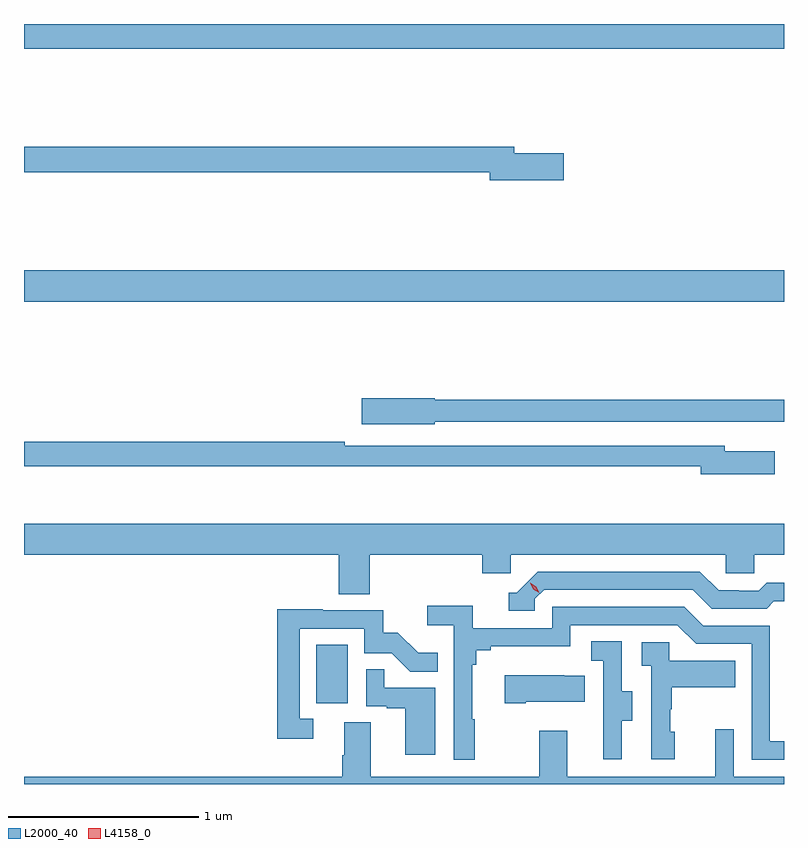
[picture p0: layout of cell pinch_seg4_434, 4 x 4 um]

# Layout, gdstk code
import gdstk
lib = gdstk.Library(unit=1e-6, precision=1e-09)
def R(c, l, rs):  # rectangles x0, y0, x1, y1
    for r in rs: c.add(gdstk.rectangle(r[:2], r[2:], *l))
def P(c, l, *ps):  # polygons
    for p in ps: c.add(gdstk.Polygon(p, *l))
L2000_40 = (2000, 40)
L4158_0 = (4158, 0)

pinch_seg4_434 = lib.new_cell('pinch_seg4_434')
R(pinch_seg4_434, L2000_40, [(949.424,788.046,949.588,788.353), (947.885,790.16,951.885,790.324), (947.885,791.492,951.885,791.621)])
P(pinch_seg4_434, L2000_40, [(950.725,790.94),(950.464,790.94),(950.464,790.976),(947.885,790.976),(947.885,790.84),(950.336,790.84),(950.336,790.798),(950.725,790.798)],
  [(950.046,789.528),(951.67,789.528),(951.67,789.527),(951.885,789.527),(951.885,789.644),(950.046,789.644),(950.046,789.65),(949.662,789.65),(949.662,789.515),(950.046,789.515)],
  [(951.835,789.373),(951.574,789.373),(951.574,789.402),(949.574,789.402),(949.574,789.422),(947.885,789.422),(947.885,789.294),(951.446,789.294),(951.446,789.251),(951.835,789.251)],
  [(949.706,788.828),(950.297,788.828),(950.297,788.73),(950.448,788.73),(950.448,788.828),(951.579,788.828),(951.579,788.73),(951.729,788.73),(951.729,788.828),(951.885,788.828),(951.885,788.992),(947.885,788.992),(947.885,788.828),(949.541,788.828),(949.541,788.62),(949.706,788.62)],
  [(950.574,788.595),(950.622,788.643),(951.405,788.643),(951.504,788.544),(951.793,788.544),(951.832,788.583),(951.885,788.583),(951.885,788.68),(951.793,788.68),(951.751,788.637),(951.648,788.637),(951.648,788.64),(951.541,788.64),(951.442,788.739),(950.589,788.739),(950.478,788.628),(950.435,788.628),(950.435,788.532),(950.574,788.532)],
  [(950.257,787.961),(950.245,787.961),(950.245,788.249),(950.264,788.249),(950.264,788.326),(950.341,788.326),(950.341,788.345),(950.76,788.345),(950.76,788.457),(951.324,788.457),(951.423,788.358),(951.714,788.358),(951.714,787.749),(951.885,787.749),(951.885,787.845),(951.81,787.845),(951.81,788.454),(951.46,788.454),(951.361,788.553),(950.664,788.553),(950.664,788.442),(950.246,788.442),(950.246,788.558),(950.007,788.558),(950.007,788.456),(950.148,788.456),(950.148,787.749),(950.257,787.749)],
  [(949.408,787.965),(949.335,787.965),(949.335,788.439),(949.677,788.439),(949.677,788.31),(949.821,788.31),(949.919,788.212),(950.063,788.212),(950.063,788.311),(949.959,788.311),(949.852,788.418),(949.776,788.418),(949.776,788.535),(949.457,788.535),(949.457,788.54),(949.219,788.54),(949.219,787.86),(949.408,787.86)],
  [(951.031,787.954),(951.085,787.954),(951.085,788.109),(951.03,788.109),(951.03,788.372),(950.871,788.372),(950.871,788.269),(950.934,788.269),(950.934,787.965),(950.933,787.965),(950.933,787.752),(951.031,787.752)],
  [(951.31,787.896),(951.285,787.896),(951.285,788.015),(951.295,788.015),(951.295,788.129),(951.629,788.129),(951.629,788.269),(951.282,788.269),(951.282,788.367),(951.135,788.367),(951.135,788.243),(951.186,788.243),(951.186,787.752),(951.31,787.752)],
  [(950.05,788.127),(949.781,788.127),(949.781,788.225),(949.686,788.225),(949.686,788.031),(949.793,788.031),(949.793,788.019),(949.892,788.019),(949.892,787.776),(950.05,787.776)],
  [(950.527,788.054),(950.837,788.054),(950.837,788.191),(950.729,788.191),(950.729,788.194),(950.415,788.194),(950.415,788.047),(950.527,788.047)],
  [(947.885,787.621),(951.885,787.621),(951.885,787.66),(951.621,787.66),(951.621,787.909),(951.524,787.909),(951.524,787.66),(950.743,787.66),(950.743,787.9),(950.596,787.9),(950.596,787.66),(949.711,787.66),(949.711,787.946),(949.571,787.946),(949.571,787.772),(949.559,787.772),(949.559,787.66),(947.885,787.66)])
P(pinch_seg4_434, L4158_0, [(950.596,788.628),(950.565,788.647),(950.549,788.679),(950.549,788.68),(950.55,788.68),(950.58,788.66),(950.596,788.628),(950.596,788.628)])

lib.write_gds('pinch_seg4_434.gds')
